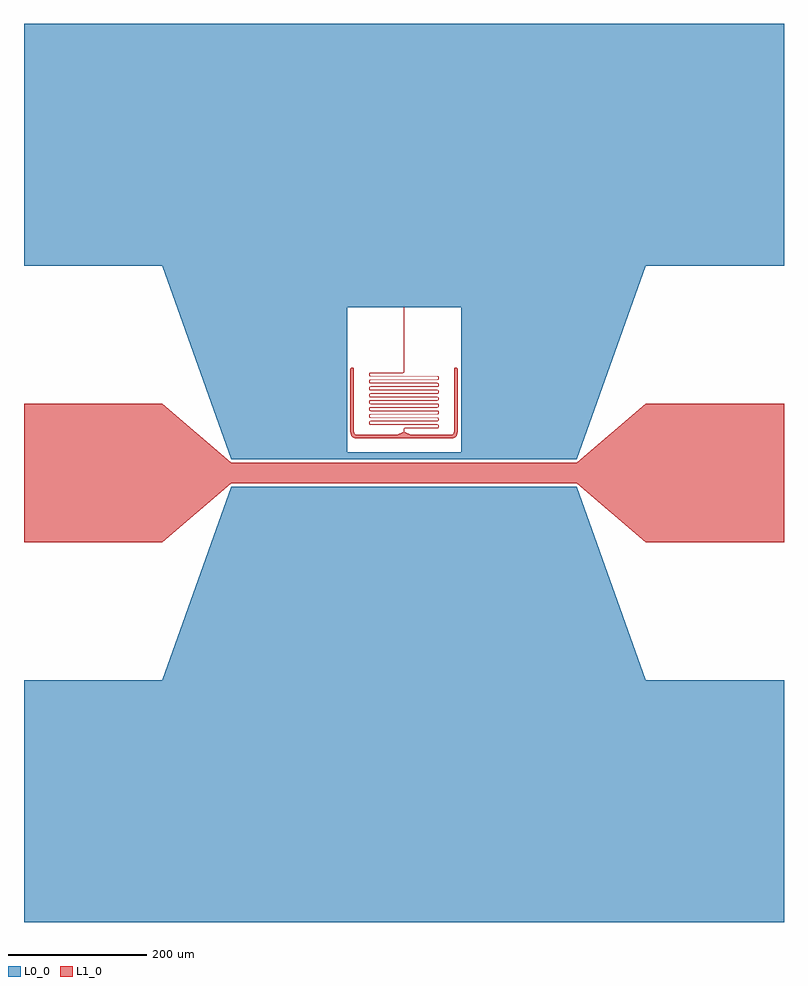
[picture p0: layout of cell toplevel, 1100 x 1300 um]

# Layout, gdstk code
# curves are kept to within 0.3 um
import gdstk
lib = gdstk.Library(unit=1e-6, precision=1e-09)
def P(c, l, *ps):  # polygons
    for p in ps: c.add(gdstk.Polygon(p, *l))
L0_0 = (0, 0)
L1_0 = (1, 0)

toplevel = lib.new_cell('toplevel')
P(toplevel, L0_0, [(350,300),(550,300),(550,650),(-550,650),(-550,300),(-350,300),(-253.571,30),(-82.5,30),(-82.5,240),(82.5,240),(82.5,30),(-253.571,30),(-250,20),(250,20)],
  [(550,-650),(550,-300),(350,-300),(250,-20),(-250,-20),(-350,-300),(-550,-300),(-550,-650)])
P(toplevel, L1_0, [(-75.109,152.498),(-76.768,151.768),(-77.498,150.109),(-77.495,60.762),(-76.51,55.237),(-75.241,53.18),(-73.502,51.654),(-70.563,50.418),(-66.738,50.005),(66.879,50.007),(72.263,50.989),(74.271,52.217),(75.811,53.945),(77.108,57.045),(77.499,61.178),(77.5,150),(77.218,151.154),(76.343,152.108),(75.109,152.498),(73.846,152.217),(72.892,151.343),(72.502,150.109),(72.493,60.67),(72.07,57.598),(70.83,55.881),(69.09,55.211),(66.336,55.001),(-66.125,55),(-68.96,55.186),(-70.871,55.909),(-71.911,57.199),(-72.426,59.368),(-72.502,150.109),(-73.311,151.843)],
  [(0.3,60),(0.391,63.782),(0.794,64.41),(1.61,64.68),(48.782,64.773),(49.434,65.022),(49.9,65.448),(50.187,66.055),(50.295,66.844),(50.284,68.368),(50.117,69.154),(49.683,69.794),(48.969,70.18),(47.83,70.3),(-48.195,70.307),(-49.226,70.605),(-49.66,71.451),(-49.621,73.739),(-49.354,74.275),(-48.867,74.583),(-47.829,74.7),(48.111,74.703),(49.119,74.87),(49.82,75.347),(50.202,76.113),(50.3,77.244),(50.249,78.666),(49.922,79.52),(49.234,80.083),(48.189,80.294),(-47.953,80.301),(-49.073,80.506),(-49.599,81.184),(-49.699,83.015),(-49.559,83.933),(-49.088,84.486),(-48.205,84.693),(48.002,84.701),(49.424,85.015),(49.877,85.417),(50.17,85.997),(50.297,88.111),(50.083,89.234),(49.402,89.997),(48.256,90.291),(-47.953,90.301),(-49.058,90.498),(-49.591,91.158),(-49.699,92.974),(-49.562,93.925),(-49.095,94.482),(-48.205,94.693),(48.002,94.701),(49.402,95.003),(49.861,95.397),(50.154,95.95),(50.298,98.067),(50.088,99.222),(49.413,99.991),(48.256,100.291),(-47.953,100.301),(-49.043,100.491),(-49.58,101.125),(-49.7,102.912),(-49.565,103.917),(-49.095,104.482),(-48.205,104.693),(47.991,104.701),(49.38,104.99),(49.837,105.366),(50.138,105.904),(50.299,108.013),(50.093,109.211),(49.413,109.991),(48.256,110.291),(-47.943,110.3),(-49.027,110.483),(-49.571,111.1),(-49.7,112.85),(-49.565,113.917),(-49.095,114.482),(-48.205,114.693),(47.991,114.701),(49.357,114.978),(49.811,115.337),(50.121,115.858),(50.3,117.915),(50.103,119.188),(49.424,119.985),(48.256,120.291),(-47.943,120.3),(-49.012,120.476),(-49.555,121.059),(-49.7,122.088),(-49.571,123.9),(-49.102,124.477),(-48.205,124.693),(47.991,124.701),(49.346,124.972),(49.794,125.317),(50.103,125.812),(50.3,127.159),(50.107,129.177),(49.434,129.978),(48.256,130.291),(-47.933,130.3),(-48.989,130.465),(-49.539,131.019),(-49.699,132.016),(-49.574,133.892),(-49.109,134.473),(-48.205,134.693),(47.98,134.701),(49.313,134.955),(50.078,135.755),(50.299,137.031),(50.28,138.414),(50.112,139.165),(49.434,139.978),(48.256,140.291),(-47.933,140.3),(-48.965,140.455),(-49.521,140.98),(-49.697,141.895),(-49.599,143.816),(-49.193,144.419),(-48.38,144.681),(-1.933,144.702),(-0.698,144.949),(0.045,145.687),(0.3,147.138),(0.3,240),(-0.3,240),(-0.3,147.15),(-0.491,145.957),(-1.019,145.461),(-1.996,145.301),(-48.482,145.274),(-49.552,144.9),(-50.147,144.073),(-50.297,141.9),(-50.062,140.721),(-49.29,139.944),(-47.98,139.701),(48.205,139.693),(49.109,139.473),(49.574,138.892),(49.699,136.985),(49.532,136.004),(48.981,135.461),(47.933,135.3),(-48.256,135.291),(-49.434,134.978),(-50.112,134.165),(-50.28,133.414),(-50.3,132.063),(-50.088,130.778),(-49.776,130.298),(-49.324,129.96),(-47.98,129.701),(48.205,129.693),(49.102,129.477),(49.571,128.9),(49.7,127.057),(49.549,126.043),(49.004,125.472),(47.943,125.3),(-48.256,125.291),(-49.424,124.985),(-50.103,124.188),(-50.3,122.873),(-50.112,120.835),(-49.803,120.327),(-49.357,119.978),(-47.991,119.701),(48.205,119.693),(49.102,119.477),(49.568,118.908),(49.7,117.15),(49.562,116.075),(49.02,115.479),(47.943,115.3),(-48.256,115.291),(-49.424,114.985),(-50.098,114.199),(-50.299,112.969),(-50.13,110.881),(-49.828,110.356),(-49.369,109.984),(-47.991,109.701),(48.205,109.693),(49.095,109.482),(49.565,108.917),(49.7,107.892),(49.577,106.116),(49.043,105.491),(47.953,105.301),(-48.256,105.291),(-49.413,104.991),(-50.093,104.211),(-50.298,103.035),(-50.147,100.927),(-49.853,100.387),(-49.402,100.003),(-48.002,99.701),(48.205,99.693),(49.095,99.482),(49.562,98.925),(49.699,97.953),(49.586,96.141),(49.05,95.494),(47.953,95.301),(-48.256,95.291),(-49.413,94.991),(-50.088,94.222),(-50.297,93.089),(-50.162,90.973),(-49.869,90.407),(-49.413,90.009),(-48.002,89.701),(48.205,89.693),(49.088,89.486),(49.559,88.933),(49.699,88.004),(49.597,86.175),(49.065,85.502),(47.953,85.301),(-48.256,85.291),(-49.402,84.997),(-50.083,84.234),(-50.296,83.122),(-50.173,81.008),(-49.885,80.427),(-49.434,80.022),(-48.817,79.781),(-48.002,79.701),(48.155,79.695),(48.965,79.545),(49.456,79.138),(49.67,78.475),(49.636,76.323),(49.37,75.743),(48.859,75.414),(48.055,75.302),(-47.841,75.3),(-49.061,75.151),(-49.758,74.721),(-50.166,74.015),(-50.259,71.403),(-50.051,70.698),(-49.653,70.18),(-49.061,69.849),(-48.278,69.71),(47.829,69.7),(48.825,69.597),(49.327,69.304),(49.609,68.782),(49.677,66.582),(49.304,65.673),(48.37,65.318),(1.253,65.234),(0.327,64.803),(-0.18,63.969),(-0.3,60)],
  [(10,55),(0.3,60),(-0.3,60),(-10,55)],
  [(-250,15),(-350,100),(-550,100),(-550,-100),(-350,-100),(-250,-15),(250,-15),(350,-100),(550,-100),(550,100),(350,100),(250,15)])

lib.write_gds('toplevel.gds')
